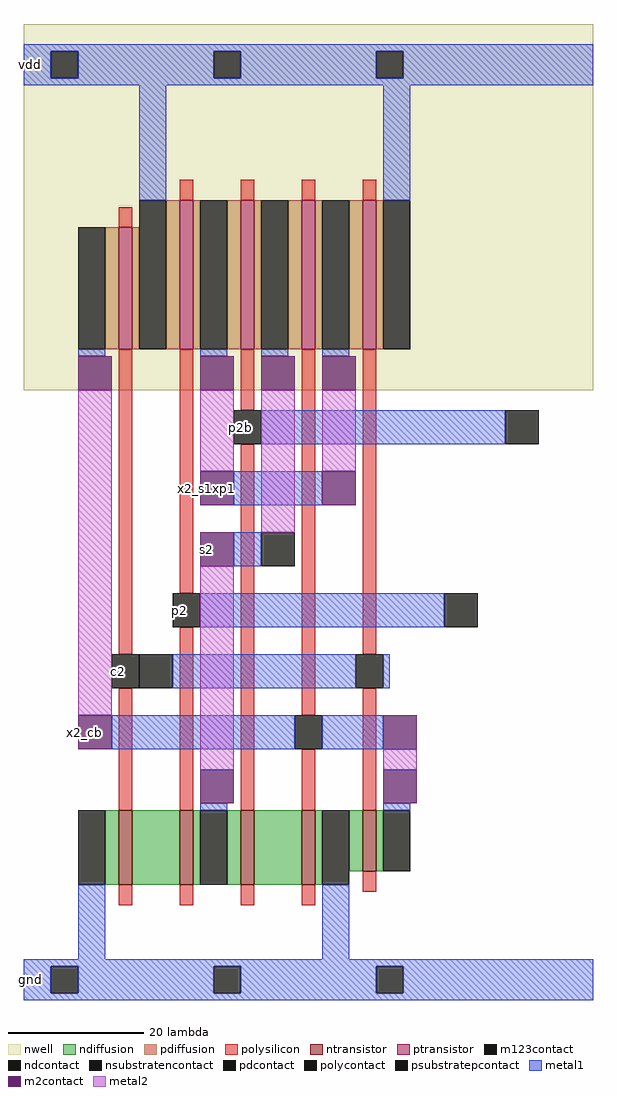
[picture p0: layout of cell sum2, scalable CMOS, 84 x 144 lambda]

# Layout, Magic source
magic
tech scmos
<< nwell >>
rect 0 90 84 144
<< ntransistor >>
rect 14 17 16 28
rect 23 17 25 28
rect 32 17 34 28
rect 41 17 43 28
rect 50 19 52 28
<< ptransistor >>
rect 14 96 16 114
rect 23 96 25 118
rect 32 96 34 118
rect 41 96 43 118
rect 50 96 52 118
<< ndiffusion >>
rect 12 17 14 28
rect 16 17 23 28
rect 25 17 26 28
rect 30 17 32 28
rect 34 17 41 28
rect 43 17 44 28
rect 48 19 50 28
rect 52 19 53 28
<< pdiffusion >>
rect 12 96 14 114
rect 16 96 17 114
rect 21 96 23 118
rect 25 96 26 118
rect 30 96 32 118
rect 34 96 35 118
rect 39 96 41 118
rect 43 96 44 118
rect 48 96 50 118
rect 52 96 53 118
<< ndcontact >>
rect 8 17 12 28
rect 26 17 30 28
rect 44 17 48 28
rect 53 19 57 28
<< pdcontact >>
rect 8 96 12 114
rect 17 96 21 118
rect 26 96 30 118
rect 35 96 39 118
rect 44 96 48 118
rect 53 96 57 118
<< psubstratepcontact >>
rect 4 1 8 5
rect 28 1 32 5
rect 52 1 56 5
<< nsubstratencontact >>
rect 4 136 8 140
rect 28 136 32 140
rect 52 136 56 140
<< polysilicon >>
rect 23 118 25 121
rect 32 118 34 121
rect 41 118 43 121
rect 50 118 52 121
rect 14 114 16 117
rect 14 51 16 96
rect 23 60 25 96
rect 32 87 34 96
rect 14 28 16 46
rect 23 28 25 55
rect 32 28 34 82
rect 41 42 43 96
rect 50 51 52 96
rect 41 28 43 37
rect 50 28 52 46
rect 14 14 16 17
rect 23 14 25 17
rect 32 14 34 17
rect 41 14 43 17
rect 50 16 52 19
<< polycontact >>
rect 31 82 35 87
rect 22 55 26 60
rect 13 46 17 51
rect 49 46 53 51
rect 40 37 44 42
<< metal1 >>
rect 0 140 84 141
rect 0 136 4 140
rect 8 136 28 140
rect 32 136 52 140
rect 56 136 84 140
rect 0 135 84 136
rect 17 118 21 135
rect 53 118 57 135
rect 8 95 12 96
rect 26 95 30 96
rect 35 95 39 96
rect 44 95 48 96
rect 35 82 71 87
rect 31 73 44 78
rect 31 64 35 69
rect 26 55 62 60
rect 22 46 49 51
rect 53 46 54 51
rect 13 37 40 42
rect 44 37 53 42
rect 26 28 30 29
rect 53 28 57 29
rect 8 6 12 17
rect 44 6 48 17
rect 0 5 84 6
rect 0 1 4 5
rect 8 1 28 5
rect 32 1 52 5
rect 56 1 84 5
rect 0 0 84 1
<< m2contact >>
rect 8 90 13 95
rect 26 90 31 95
rect 35 90 40 95
rect 44 90 49 95
rect 26 73 31 78
rect 44 73 49 78
rect 26 64 31 69
rect 8 37 13 42
rect 53 37 58 42
rect 26 29 31 34
rect 53 29 58 34
<< metal2 >>
rect 8 42 13 90
rect 26 78 31 90
rect 35 69 40 90
rect 44 78 49 90
rect 26 34 31 64
rect 53 34 58 37
<< m123contact >>
rect 71 82 76 87
rect 35 64 40 69
rect 17 46 22 51
rect 62 55 67 60
<< labels >>
rlabel metal1 13 46 15 51 0 c2
port 1 nsew
rlabel metal1 22 55 24 60 0 p2
port 2 nsew
rlabel metal1 31 82 33 87 0 p2b
port 3 nsew
rlabel m2contact 26 64 28 69 0 s2
port 4 nsew
rlabel m2contact 8 37 10 42 0 x2_cb
rlabel m2contact 26 73 28 78 0 x2_s1xp1
rlabel metal1 0 135 2 141 0 vdd
port 5 nsew
rlabel metal1 0 0 2 6 0 gnd
port 6 nsew
<< end >>
